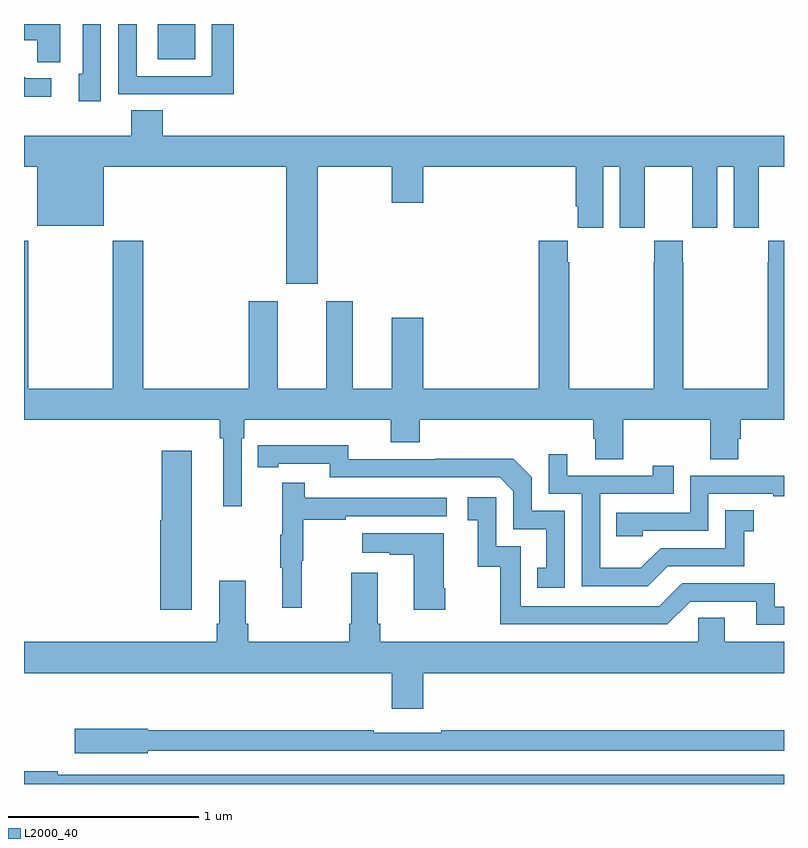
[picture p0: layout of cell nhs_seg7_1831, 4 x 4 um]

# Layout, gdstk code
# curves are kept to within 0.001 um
import gdstk
lib = gdstk.Library(unit=1e-6, precision=1e-09)
def R(c, l, rs):  # rectangles x0, y0, x1, y1
    for r in rs: c.add(gdstk.rectangle(r[:2], r[2:], *l))
def P(c, l, *ps):  # polygons
    for p in ps: c.add(gdstk.Polygon(p, *l))
L2000_40 = (2000, 40)

nhs_seg7_1831 = lib.new_cell('nhs_seg7_1831')
R(nhs_seg7_1831, L2000_40, [(235.703,1035.815,235.9,1036)])
P(nhs_seg7_1831, L2000_40, [(235.404,1036),(235.308,1036),(235.308,1035.738),(235.289,1035.738),(235.289,1035.594),(235.404,1035.594)],
  [(236.105,1036),(235.989,1036),(235.989,1035.726),(235.593,1035.726),(235.593,1036),(235.497,1036),(235.497,1035.63),(235.813,1035.63),(235.813,1035.629),(236.105,1035.629)],
  [(235.192,1036),(235,1036),(235,1035.914),(235.071,1035.914),(235.071,1035.799),(235.192,1035.799)],
  [(235.144,1035.714),(235.009,1035.714),(235,1035.723),(235,1035.617),(235.144,1035.617)],
  [(236.545,1035.248),(236.936,1035.248),(236.936,1035.06),(237.1,1035.06),(237.1,1035.248),(237.905,1035.248),(237.905,1035.04),(237.914,1035.04),(237.914,1034.928),(238.048,1034.928),(238.048,1035.248),(238.136,1035.248),(238.136,1034.928),(238.266,1034.928),(238.266,1035.04),(238.267,1035.04),(238.267,1035.248),(238.517,1035.248),(238.517,1035.04),(238.518,1035.04),(238.518,1034.928),(238.648,1034.928),(238.648,1035.248),(238.736,1035.248),(238.736,1034.928),(238.866,1034.928),(238.866,1035.04),(238.867,1035.04),(238.867,1035.248),(239,1035.248),(239,1035.412),(235.73,1035.412),(235.73,1035.545),(235.565,1035.545),(235.565,1035.412),(235,1035.412),(235,1035.248),(235.07,1035.248),(235.07,1034.939),(235.42,1034.939),(235.42,1035.248),(236.381,1035.248),(236.381,1034.634),(236.545,1034.634)],
  [(236.145,1033.82),(236.159,1033.82),(236.159,1033.916),(236.93,1033.916),(236.93,1033.799),(237.083,1033.799),(237.083,1033.916),(237.995,1033.916),(237.995,1033.818),(238.007,1033.818),(238.007,1033.708),(238.155,1033.708),(238.155,1033.916),(238.612,1033.916),(238.612,1033.708),(238.759,1033.708),(238.759,1033.818),(238.772,1033.818),(238.772,1033.916),(239,1033.916),(239,1034.86),(238.917,1034.86),(238.917,1034.747),(238.915,1034.747),(238.915,1034.08),(238.47,1034.08),(238.47,1034.747),(238.467,1034.747),(238.467,1034.86),(238.317,1034.86),(238.317,1034.747),(238.315,1034.747),(238.315,1034.08),(237.87,1034.08),(237.87,1034.747),(237.863,1034.747),(237.863,1034.86),(237.71,1034.86),(237.71,1034.08),(237.1,1034.08),(237.1,1034.455),(236.936,1034.455),(236.936,1034.08),(236.731,1034.08),(236.731,1034.542),(236.591,1034.542),(236.591,1034.08),(236.335,1034.08),(236.335,1034.542),(236.183,1034.542),(236.183,1034.08),(235.628,1034.08),(235.628,1034.86),(235.468,1034.86),(235.468,1034.08),(235.023,1034.08),(235.023,1034.86),(235,1034.86),(235,1033.916),(236.029,1033.916),(236.029,1033.82),(236.048,1033.82),(236.048,1033.461),(236.145,1033.461)],
  [(237.846,1033.437),(237.672,1033.437),(237.672,1033.614),(237.574,1033.712),(237.166,1033.712),(237.166,1033.71),(236.706,1033.71),(236.706,1033.783),(236.23,1033.782),(236.23,1033.666),(236.338,1033.666),(236.338,1033.686),(236.61,1033.686),(236.61,1033.614),(237.504,1033.614),(237.576,1033.542),(237.576,1033.341),(237.749,1033.341),(237.749,1033.137),(237.7,1033.137),(237.7,1033.032),(237.846,1033.032)],
  [(235.882,1033.753),(235.724,1033.753),(235.724,1033.389),(235.718,1033.389),(235.718,1032.918),(235.882,1032.918)],
  [(238.387,1033.146),(238.791,1033.146),(238.791,1033.331),(238.84,1033.331),(238.84,1033.441),(238.692,1033.441),(238.692,1033.242),(238.35,1033.242),(238.246,1033.138),(238.032,1033.138),(238.032,1033.527),(238.421,1033.527),(238.421,1033.675),(238.31,1033.675),(238.31,1033.623),(237.859,1033.623),(237.859,1033.735),(237.762,1033.735),(237.762,1033.527),(237.936,1033.527),(237.936,1033.041),(238.282,1033.041)],
  [(238.257,1033.332),(238.602,1033.332),(238.602,1033.527),(238.943,1033.527),(238.943,1033.515),(239,1033.515),(239,1033.623),(238.506,1033.623),(238.506,1033.428),(238.117,1033.428),(238.117,1033.305),(238.257,1033.305)],
  [(236.462,1033.176),(236.47,1033.176),(236.47,1033.39),(236.693,1033.39),(236.693,1033.41),(237.226,1033.41),(237.226,1033.506),(236.477,1033.506),(236.477,1033.585),(236.36,1033.585),(236.36,1033.313),(236.349,1033.313),(236.349,1033.139),(236.36,1033.139),(236.36,1032.927),(236.462,1032.927)],
  [(239,1032.933),(238.95,1032.933),(238.95,1033.056),(238.464,1033.056),(238.344,1032.936),(237.615,1032.936),(237.615,1033.251),(237.486,1033.251),(237.486,1033.51),(237.336,1033.51),(237.336,1033.389),(237.389,1033.389),(237.389,1033.143),(237.507,1033.143),(237.507,1032.84),(238.386,1032.84),(238.506,1032.96),(238.853,1032.96),(238.853,1032.837),(239,1032.837)],
  [(237.216,1033.03),(237.208,1033.03),(237.208,1033.321),(236.781,1033.321),(236.781,1033.217),(236.924,1033.217),(236.924,1033.207),(237.05,1033.207),(237.05,1032.918),(237.216,1032.918)],
  [(237.1,1032.584),(239,1032.584),(239,1032.748),(238.687,1032.748),(238.687,1032.875),(238.548,1032.875),(238.548,1032.748),(236.876,1032.748),(236.876,1032.844),(236.863,1032.844),(236.863,1033.111),(236.723,1033.111),(236.723,1032.844),(236.711,1032.844),(236.711,1032.748),(236.18,1032.748),(236.18,1032.844),(236.167,1032.844),(236.167,1033.069),(236.027,1033.069),(236.027,1032.844),(236.015,1032.844),(236.015,1032.748),(235,1032.748),(235,1032.584),(236.936,1032.584),(236.936,1032.396),(237.1,1032.396)],
  [(235.65,1032.174),(239,1032.174),(239,1032.283),(237.196,1032.283),(237.196,1032.27),(236.84,1032.27),(236.84,1032.283),(235.65,1032.283),(235.65,1032.291),(235.266,1032.291),(235.266,1032.161),(235.65,1032.161)],
  [(239,1032.048),(235.178,1032.048),(235.178,1032.068),(235,1032.068),(235,1032),(239,1032)])

lib.write_gds('nhs_seg7_1831.gds')
